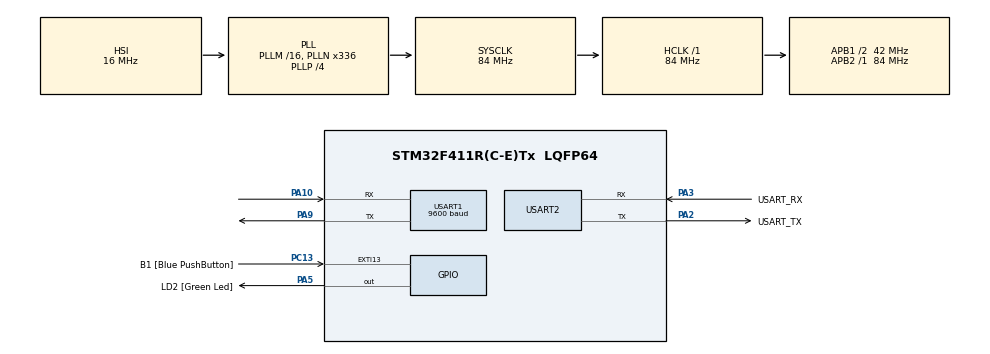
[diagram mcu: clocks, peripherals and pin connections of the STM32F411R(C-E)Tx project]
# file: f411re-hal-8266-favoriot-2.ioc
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Mcu.Family=STM32F4
Mcu.Name=STM32F411R(C-E)Tx
Mcu.Package=LQFP64
NVIC.PriorityGroup=NVIC_PRIORITYGROUP_1
NVIC.USART1_IRQn=true\:1\:0\:true\:false\:true\:true\:true
PA10.Mode=Asynchronous
PA10.Signal=USART1_RX
PA13.GPIO_Label=TMS
PA13.Mode=Serial_Wire
PA13.Signal=SYS_JTMS-SWDIO
PA14.GPIO_Label=TCK
PA14.Mode=Serial_Wire
PA14.Signal=SYS_JTCK-SWCLK
PA2.GPIO_Label=USART_TX
PA2.Mode=Asynchronous
PA2.Signal=USART2_TX
PA3.GPIO_Label=USART_RX
PA3.Mode=Asynchronous
PA3.Signal=USART2_RX
PA5.GPIO_Label=LD2 [Green Led]
PA5.Signal=GPIO_Output
PA9.Mode=Asynchronous
PA9.Signal=USART1_TX
PB3.GPIO_Label=SWO
PB3.Signal=SYS_JTDO-SWO
PC13-ANTI_TAMP.GPIO_Label=B1 [Blue PushButton]
PC13-ANTI_TAMP.GPIO_ModeDefaultEXTI=GPIO_MODE_IT_FALLING
PC13-ANTI_TAMP.Signal=GPXTI13
PC14-OSC32_IN.Mode=LSE-External-Oscillator
PC14-OSC32_IN.Signal=RCC_OSC32_IN
PC15-OSC32_OUT.Mode=LSE-External-Oscillator
PC15-OSC32_OUT.Signal=RCC_OSC32_OUT
PH0\ -\ OSC_IN.Mode=HSE-External-Clock-Source
PH0\ -\ OSC_IN.Signal=RCC_OSC_IN
PH1\ -\ OSC_OUT.Mode=HSE-External-Clock-Source
PH1\ -\ OSC_OUT.Signal=RCC_OSC_OUT
ProjectManager.HeapSize=0x200
ProjectManager.StackSize=0x400
ProjectManager.TargetToolchain=STM32CubeIDE
RCC.48MHZClocksFreq_Value=84000000
RCC.AHBFreq_Value=84000000
RCC.APB1CLKDivider=RCC_HCLK_DIV2
RCC.APB1Freq_Value=42000000
RCC.APB1TimFreq_Value=84000000
RCC.APB2Freq_Value=84000000
RCC.APB2TimFreq_Value=84000000
RCC.CortexFreq_Value=84000000
RCC.FLatency-AdvancedSettings=FLASH_LATENCY_2
RCC.HCLKFreq_Value=84000000
RCC.HSE_VALUE=8000000
RCC.HSI_VALUE=16000000
RCC.PLLN=336
RCC.PLLP=RCC_PLLP_DIV4
RCC.SYSCLKFreq_VALUE=84000000
RCC.SYSCLKSource=RCC_SYSCLKSOURCE_PLLCLK
RCC.VCOOutputFreq_Value=336000000
USART1.BaudRate=9600
USART1.VirtualMode=VM_ASYNC
USART2.VirtualMode=VM_ASYNC
board=NUCLEO-F411RE

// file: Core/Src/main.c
/* USER CODE BEGIN Header */
/**
  ******************************************************************************
  * @file           : main.c
  * @brief          : Main program body
  ******************************************************************************
  * @attention
  *
  * Copyright (c) 2022 STMicroelectronics.
  * All rights reserved.
  *
  * This software is licensed under terms that can be found in the LICENSE file
  * in the root directory of this software component.
  * If no LICENSE file comes with this software, it is provided AS-IS.
  *
  ******************************************************************************
  */
/* USER CODE END Header */
#include "main.h"

/* USER CODE BEGIN Includes */
#include "stdio.h"
/* USER CODE END Includes */

UART_HandleTypeDef huart1;
UART_HandleTypeDef huart2;

/* USER CODE BEGIN PV */
const char WIFI_NAME[] = "SSID";
const char WIFI_PASSW[] = "PASSWORD";
const char TOKEN[] = "API TOKEN";
const char DEVICE[] = "DEVELOPERID";

char sendBuff[256], sendBuff2[256]; //original [64]
char post1[256];
char post2[256];
char post3[256];
char json[128]; //original [64]
uint8_t recArr[64], recData;
uint8_t buffLen, buffLen2, buffCnt = 0;
uint8_t jsonLen, post1Len, post2Len, post3Len;
uint8_t count = 0;
/* USER CODE END PV */

void SystemClock_Config(void);
static void MX_GPIO_Init(void);
static void MX_USART2_UART_Init(void);
static void MX_USART1_UART_Init(void);
/* USER CODE BEGIN PFP */
void HAL_UART_RxCpltCallback(UART_HandleTypeDef *huart)
{
	recArr[buffCnt++] = recData;
	if(buffCnt == 128) buffCnt = 0;
	HAL_UART_Receive_IT(&huart1, &recData, 1);
}
/* USER CODE END PFP */

int main(void)
{

  /* MCU Configuration--------------------------------------------------------*/

  /* Reset of all peripherals, Initializes the Flash interface and the Systick. */
  HAL_Init();

  /* Configure the system clock */
  SystemClock_Config();

  /* Initialize all configured peripherals */
  MX_GPIO_Init();
  MX_USART2_UART_Init();
  MX_USART1_UART_Init();
  /* USER CODE BEGIN 2 */
  // Wifi Connection
  buffLen = sprintf(sendBuff, "AT+CWMODE_CUR=1\r\n");
  HAL_UART_Transmit(&huart1, (uint8_t *)sendBuff, buffLen, 1000);

  buffLen = sprintf(sendBuff, "AT+CWLAP\r\n");
  HAL_UART_Transmit(&huart1, (uint8_t *)sendBuff, buffLen, 1000);

  HAL_Delay(2000);

  buffLen = sprintf(sendBuff, "AT+CWJAP_CUR=\"%s\",\"%s\"\r\n", WIFI_NAME, WIFI_PASSW);
  HAL_UART_Transmit(&huart1, (uint8_t *)sendBuff, buffLen, 1000);

  /* USER CODE END 2 */

  /* Infinite loop */
  /* USER CODE BEGIN WHILE */
  while (1)
  {
	  HAL_GPIO_TogglePin(LD2_GPIO_Port,LD2_Pin);
	  HAL_Delay(500);
	  count++;
    /* USER CODE END WHILE */

    /* USER CODE BEGIN 3 */
	  // connect Ubidots server
	  buffLen = sprintf(sendBuff, "AT+CIPSTART=\"TCP\",\"apiv2.favoriot.com\",80\r\n");
	  HAL_UART_Transmit(&huart1, (uint8_t *)sendBuff, buffLen, 1000);
	  HAL_Delay(3000);

	  /* Construct content of HTTP command */
	  jsonLen = sprintf(json, "{\"device_developer_id\":\"stm32@irchadfx\",\"data\":{\"counter\":\"%d\"}}",count);

	  /*Sending data stream*/
	  post1Len = sprintf(post1, "POST /v2/streams HTTP/1.1\r\nHost: apiv2.favoriot.com\r\n");
	  post2Len = sprintf(post2, "apikey: %s\r\n", TOKEN);
	  post3Len = sprintf(post3, "Content-Type: application/json\r\ncache-control: no-cache\r\nContent-Length: %d\r\nConnection: close\r\n\r\n",jsonLen);

	  int x = post1Len + post2Len + post3Len + jsonLen;

	  buffLen = sprintf(sendBuff, "AT+CIPSEND=%d\r\n", x);
	  HAL_UART_Transmit(&huart1, (uint8_t *)sendBuff, buffLen, 1000);
	  HAL_UART_Transmit(&huart2, (uint8_t *)sendBuff, buffLen, 1000);

	  HAL_Delay(100);

	  HAL_UART_Transmit(&huart1, (uint8_t *)post1, post1Len, 1000);
	  HAL_UART_Transmit(&huart1, (uint8_t *)post2, post2Len, 1000);
	  HAL_UART_Transmit(&huart1, (uint8_t *)post3, post3Len, 1000);
	  HAL_UART_Transmit(&huart1, (uint8_t *)json, jsonLen, 1000);

	  buffLen2 = sprintf(sendBuff2, "Data sent...!\r\n");
	  HAL_UART_Transmit(&huart2, (uint8_t *)sendBuff2, buffLen2, 1000);

	  HAL_Delay(10000);
  }
  /* USER CODE END 3 */
}

void SystemClock_Config(void)
{
  RCC_OscInitTypeDef RCC_OscInitStruct = {0};
  RCC_ClkInitTypeDef RCC_ClkInitStruct = {0};

  /** Configure the main internal regulator output voltage
  */
  __HAL_RCC_PWR_CLK_ENABLE();
  __HAL_PWR_VOLTAGESCALING_CONFIG(PWR_REGULATOR_VOLTAGE_SCALE1);
  /** Initializes the RCC Oscillators according to the specified parameters
  * in the RCC_OscInitTypeDef structure.
  */
  RCC_OscInitStruct.OscillatorType = RCC_OSCILLATORTYPE_HSI;
  RCC_OscInitStruct.HSIState = RCC_HSI_ON;
  RCC_OscInitStruct.HSICalibrationValue = RCC_HSICALIBRATION_DEFAULT;
  RCC_OscInitStruct.PLL.PLLState = RCC_PLL_ON;
  RCC_OscInitStruct.PLL.PLLSource = RCC_PLLSOURCE_HSI;
  RCC_OscInitStruct.PLL.PLLM = 16;
  RCC_OscInitStruct.PLL.PLLN = 336;
  RCC_OscInitStruct.PLL.PLLP = RCC_PLLP_DIV4;
  RCC_OscInitStruct.PLL.PLLQ = 4;
  if (HAL_RCC_OscConfig(&RCC_OscInitStruct) != HAL_OK)
  {
    Error_Handler();
  }
  /** Initializes the CPU, AHB and APB buses clocks
  */
  RCC_ClkInitStruct.ClockType = RCC_CLOCKTYPE_HCLK|RCC_CLOCKTYPE_SYSCLK
                              |RCC_CLOCKTYPE_PCLK1|RCC_CLOCKTYPE_PCLK2;
  RCC_ClkInitStruct.SYSCLKSource = RCC_SYSCLKSOURCE_PLLCLK;
  RCC_ClkInitStruct.AHBCLKDivider = RCC_SYSCLK_DIV1;
  RCC_ClkInitStruct.APB1CLKDivider = RCC_HCLK_DIV2;
  RCC_ClkInitStruct.APB2CLKDivider = RCC_HCLK_DIV1;

  if (HAL_RCC_ClockConfig(&RCC_ClkInitStruct, FLASH_LATENCY_2) != HAL_OK)
  {
    Error_Handler();
  }
}

static void MX_USART1_UART_Init(void)
{

  huart1.Instance = USART1;
  huart1.Init.BaudRate = 9600;
  huart1.Init.WordLength = UART_WORDLENGTH_8B;
  huart1.Init.StopBits = UART_STOPBITS_1;
  huart1.Init.Parity = UART_PARITY_NONE;
  huart1.Init.Mode = UART_MODE_TX_RX;
  huart1.Init.HwFlowCtl = UART_HWCONTROL_NONE;
  huart1.Init.OverSampling = UART_OVERSAMPLING_16;
  if (HAL_UART_Init(&huart1) != HAL_OK)
  {
    Error_Handler();
  }

}

static void MX_USART2_UART_Init(void)
{

  huart2.Instance = USART2;
  huart2.Init.BaudRate = 115200;
  huart2.Init.WordLength = UART_WORDLENGTH_8B;
  huart2.Init.StopBits = UART_STOPBITS_1;
  huart2.Init.Parity = UART_PARITY_NONE;
  huart2.Init.Mode = UART_MODE_TX_RX;
  huart2.Init.HwFlowCtl = UART_HWCONTROL_NONE;
  huart2.Init.OverSampling = UART_OVERSAMPLING_16;
  if (HAL_UART_Init(&huart2) != HAL_OK)
  {
    Error_Handler();
  }

}

static void MX_GPIO_Init(void)
{
  GPIO_InitTypeDef GPIO_InitStruct = {0};

  /* GPIO Ports Clock Enable */
  __HAL_RCC_GPIOC_CLK_ENABLE();
  __HAL_RCC_GPIOH_CLK_ENABLE();
  __HAL_RCC_GPIOA_CLK_ENABLE();
  __HAL_RCC_GPIOB_CLK_ENABLE();

  /*Configure GPIO pin Output Level */
  HAL_GPIO_WritePin(LD2_GPIO_Port, LD2_Pin, GPIO_PIN_RESET);

  /*Configure GPIO pin : B1_Pin */
  GPIO_InitStruct.Pin = B1_Pin;
  GPIO_InitStruct.Mode = GPIO_MODE_IT_FALLING;
  GPIO_InitStruct.Pull = GPIO_NOPULL;
  HAL_GPIO_Init(B1_GPIO_Port, &GPIO_InitStruct);

  /*Configure GPIO pin : LD2_Pin */
  GPIO_InitStruct.Pin = LD2_Pin;
  GPIO_InitStruct.Mode = GPIO_MODE_OUTPUT_PP;
  GPIO_InitStruct.Pull = GPIO_NOPULL;
  GPIO_InitStruct.Speed = GPIO_SPEED_FREQ_LOW;
  HAL_GPIO_Init(LD2_GPIO_Port, &GPIO_InitStruct);

}

void Error_Handler(void)
{
  __disable_irq();
  while (1)
  {
  }
}
